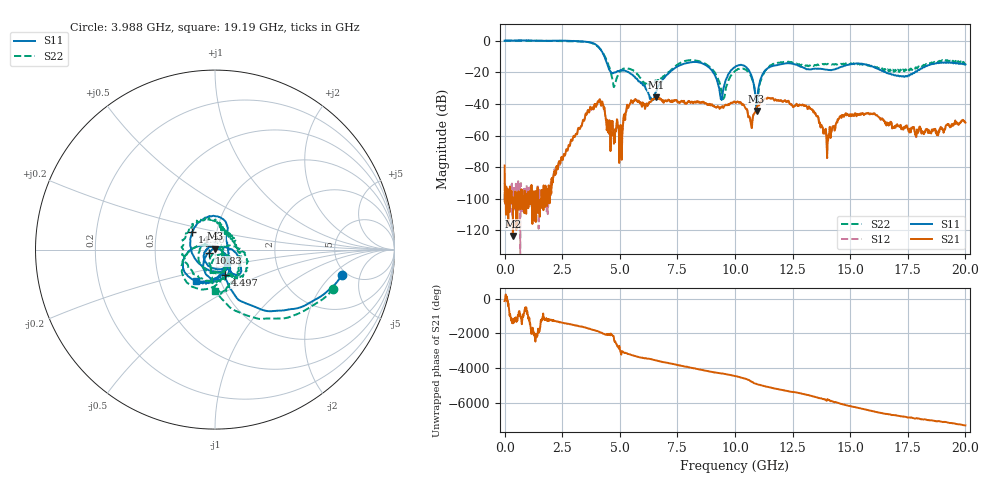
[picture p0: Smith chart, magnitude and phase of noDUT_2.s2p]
#  HZ  S  RI  R  50.00
! Rohde & Schwarz Vector Network Analyzer
! Rohde-Schwarz,ZNB20-2Port,1311601062102128,3.60
! Created: UTC 4/29/2024, 2:41:56 PM
! freq[Hz]  re:S11  im:S11  re:S21  im:S21  re:S12  im:S12  re:S22  im:S22
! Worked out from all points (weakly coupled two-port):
!   2007 points, 100 kHz to 20 GHz, reference 50 ohm
!   highest |S21| = -35.79 dB at 6.58 GHz (marker M1); lowest = -123.4 dB at 359 MHz (marker M2)
!   lowest |S11| = -44.4 dB at 10.94 GHz (marker M3), VSWR 1.01, Z = 49.8 + j0.579 ohm
!   |S11| at or under -10 dB: 4.332 GHz to end of sweep
!   |S22| runs from -44.0 to 0.1 dB; largest |S21 - S12| = 0.00086
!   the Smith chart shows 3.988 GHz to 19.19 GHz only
!   S11 on the Smith chart (normalised r, x): 3.988 GHz: 4.49, -2.67; 4.497 GHz: 1.07, -0.31; 10.83 GHz: 0.93, -0.03; 14.76 GHz: 0.76, +0.15; 19.19 GHz: 0.76, -0.28
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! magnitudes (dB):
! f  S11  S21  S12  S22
! 100 kHz  0.0  -79.0  -100.4  0.1
! 359 MHz  0.0  -123.4  -96.7  0.0
! 2.233 GHz  0.0  -84.1  -83.3  -0.3
! 3.34 GHz  -0.6  -54.1  -53.9  -0.6
! 3.988 GHz  -2.9  -39.9  -40.3  -3.2
! 4.497 GHz  -16.3  -54.8  -54.7  -15.0
! 4.756 GHz  -20.2  -61.0  -61.2  -29.1
! 5.573 GHz  -21.9  -39.3  -39.3  -18.6
! 6.58 GHz  -32.1  -35.8  -35.8  -25.5
! 6.67 GHz  -28.8  -36.7  -36.8  -24.9
! 8.365 GHz  -13.6  -38.5  -38.5  -12.8
! 9.412 GHz  -37.3  -42.0  -42.0  -31.8
! 10 GHz  -16.7  -38.8  -38.8  -19.3
! 10.83 GHz  -28.3  -46.3  -46.2  -28.9
! 10.94 GHz  -44.4  -42.2  -42.1  -43.3
! 11.6 GHz  -16.2  -36.5  -36.5  -15.4
! 13.34 GHz  -18.1  -43.8  -43.8  -15.6
! 13.99 GHz  -18.4  -69.4  -69.8  -15.0
! 14.76 GHz  -15.9  -47.1  -47.2  -15.0
! 16.67 GHz  -20.9  -53.6  -53.6  -19.5
! 19.19 GHz  -13.8  -53.4  -53.5  -12.7
! 20 GHz  -15.2  -51.8  -51.7  -14.2
